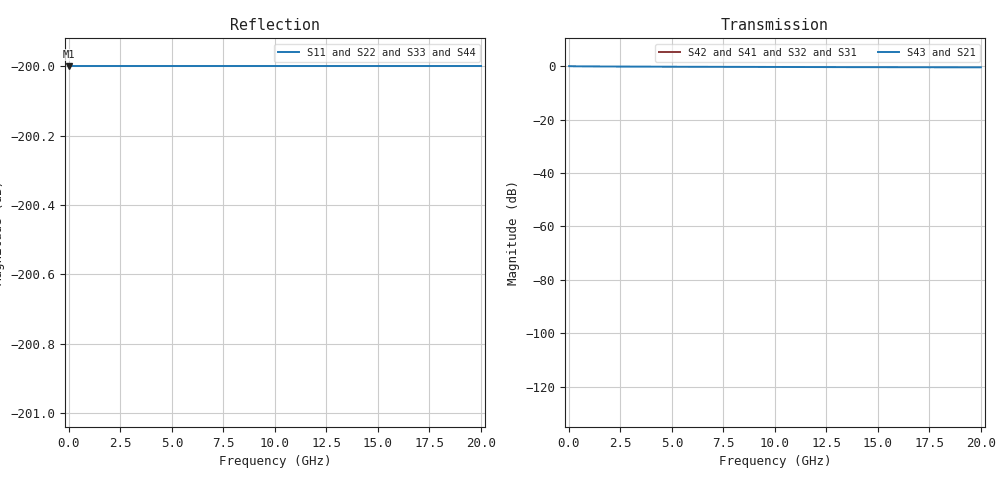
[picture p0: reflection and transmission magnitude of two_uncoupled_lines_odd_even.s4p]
! Created with skrf 2.1.0 (http://scikit-rf.org).
# GHz S RI R 50.0
!freq ReS11 ImS11 ReS12 ImS12 ReS13 ImS13
! ReS14 ImS14
! ReS21 ImS21 ReS22 ImS22 ReS23 ImS23
! ReS24 ImS24
! ReS31 ImS31 ReS32 ImS32 ReS33 ImS33
! ReS34 ImS34
! ReS41 ImS41 ReS42 ImS42 ReS43 ImS43
! ReS44 ImS44
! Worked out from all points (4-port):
!   401 points, 10 MHz to 20 GHz, reference 50 ohm
!   strongest paths, dB at 10 MHz, 5.008 GHz, 10.01 GHz, 15 GHz, 20 GHz:
!     S43: 0.0, -0.2, -0.3, -0.4, -0.4
!     S21: 0.0, -0.2, -0.3, -0.4, -0.4
!     S42: -, -, -, -, -
!     S41: -, -, -, -, -
!     S32: -, -, -, -, -
!     S31: -, -, -, -, -
!   lowest |S11| = - dB at 10 MHz (marker M1), VSWR 1.00, Z = 50 + j0 ohm
!   |S11| at or under -10 dB: start of sweep to end of sweep
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0.01  0 0  0.9988 -0.00837  0 0  0 0
      0.9988 -0.00837  0 0  0 0  0 0
      0 0  0 0  0 0  0.9988 -0.00837
      0 0  0 0  0.9988 -0.00837  0 0
3.658175  0 0  -0.9755 -0.0731  0 0  0 0
          -0.9755 -0.0731  0 0  0 0  0 0
          0 0  0 0  0 0  -0.9755 -0.0731
          0 0  0 0  -0.9755 -0.0731  0 0
7.456275  0 0  0.9685 0.0313  0 0  0 0
          0.9685 0.0313  0 0  0 0  0 0
          0 0  0 0  0 0  0.9685 0.0313
          0 0  0 0  0.9685 0.0313  0 0
11.05448  0 0  -0.9505 -0.1509  0 0  0 0
          -0.9505 -0.1509  0 0  0 0  0 0
          0 0  0 0  0 0  -0.9505 -0.1509
          0 0  0 0  -0.9505 -0.1509  0 0
13.30335  0 0  0.15 0.9471  0 0  0 0
          0.15 0.9471  0 0  0 0  0 0
          0 0  0 0  0 0  0.15 0.9471
          0 0  0 0  0.15 0.9471  0 0
16.95153  0 0  -0.0705 -0.9511  0 0  0 0
          -0.0705 -0.9511  0 0  0 0  0 0
          0 0  0 0  0 0  -0.0705 -0.9511
          0 0  0 0  -0.0705 -0.9511  0 0
20  0 0  -0.4653 0.828  0 0  0 0
    -0.4653 0.828  0 0  0 0  0 0
    0 0  0 0  0 0  -0.4653 0.828
    0 0  0 0  -0.4653 0.828  0 0
